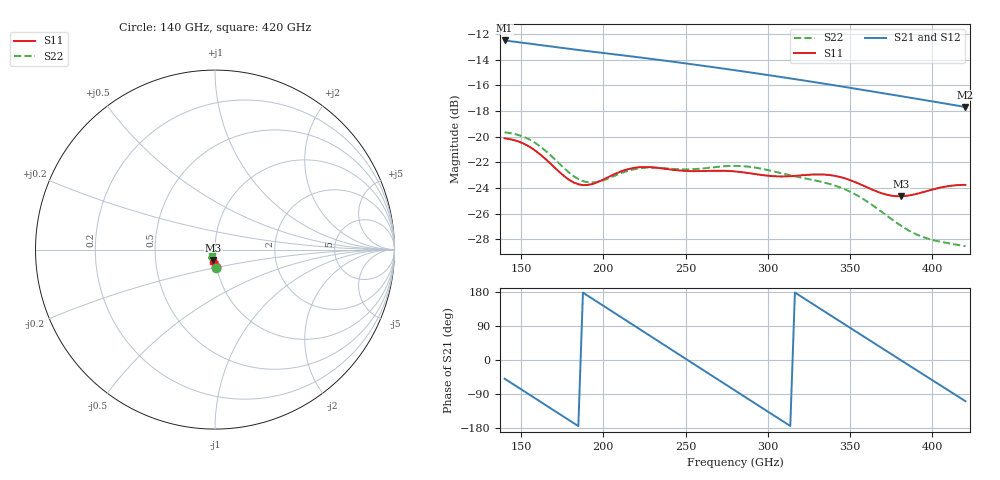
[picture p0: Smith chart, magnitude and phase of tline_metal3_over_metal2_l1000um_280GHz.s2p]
#  GHZ S DB R 50
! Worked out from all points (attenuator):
!   101 points, 140 GHz to 420 GHz, reference 50 ohm
!   highest |S21| = -12.50 dB at 140 GHz (marker M1); lowest = -17.7 dB at 420 GHz (marker M2)
!   lowest |S11| = -24.6 dB at 380.8 GHz (marker M3), VSWR 1.12, Z = 48.8 - j5.67 ohm
!   |S11| at or under -10 dB: start of sweep to end of sweep
!   |S22| runs from -28.5 to -19.7 dB; largest |S21 - S12| = 2.2e-13
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140  -20.12 -85.5  -12.50 -49.3  -12.50 -49.3  -19.66 -88.4
151.2  -20.52 -89.3  -12.68 -80.6  -12.68 -80.6  -19.99 -92.6
162.4  -21.46 -93.1  -12.87 -111.9  -12.87 -111.9  -20.83 -97.4
176.4  -23.09 -91.7  -13.10 -151.0  -13.10 -151.0  -22.48 -98.6
187.6  -23.77 -84.8  -13.28 177.7  -13.28 177.7  -23.46 -93.4
198.8  -23.41 -79.0  -13.46 146.5  -13.46 146.5  -23.44 -87.3
212.8  -22.61 -79.1  -13.67 107.3  -13.67 107.3  -22.75 -85.9
224  -22.36 -82.2  -13.85 76.0  -13.85 76.0  -22.43 -88.6
235.2  -22.46 -85.0  -14.03 44.7  -14.03 44.7  -22.44 -91.5
254.8  -22.68 -87.1  -14.37 -10.1  -14.37 -10.1  -22.53 -94.4
268.8  -22.65 -88.9  -14.61 -49.2  -14.61 -49.2  -22.35 -97.2
280  -22.70 -91.0  -14.82 -80.5  -14.82 -80.5  -22.27 -100.9
291.2  -22.89 -92.8  -15.03 -111.7  -15.03 -111.7  -22.38 -105.3
305.2  -23.09 -93.7  -15.29 -150.8  -15.29 -150.8  -22.75 -110.0
316.4  -23.05 -94.3  -15.51 178.1  -15.51 178.1  -23.08 -113.0
327.6  -22.94 -96.2  -15.73 146.9  -15.73 146.9  -23.38 -116.1
338.8  -23.01 -99.4  -15.96 115.8  -15.96 115.8  -23.73 -119.7
350  -23.38 -102.4  -16.19 84.7  -16.19 84.7  -24.28 -123.7
375.2  -24.59 -100.6  -16.72 15.0  -16.72 15.0  -26.43 -127.6
380.8  -24.64 -98.8  -16.84 -0.5  -16.84 -0.5  -26.93 -126.6
403.2  -24.01 -95.9  -17.32 -62.3  -17.32 -62.3  -28.14 -119.0
420  -23.75 -97.8  -17.68 -108.7  -17.68 -108.7  -28.53 -113.6
